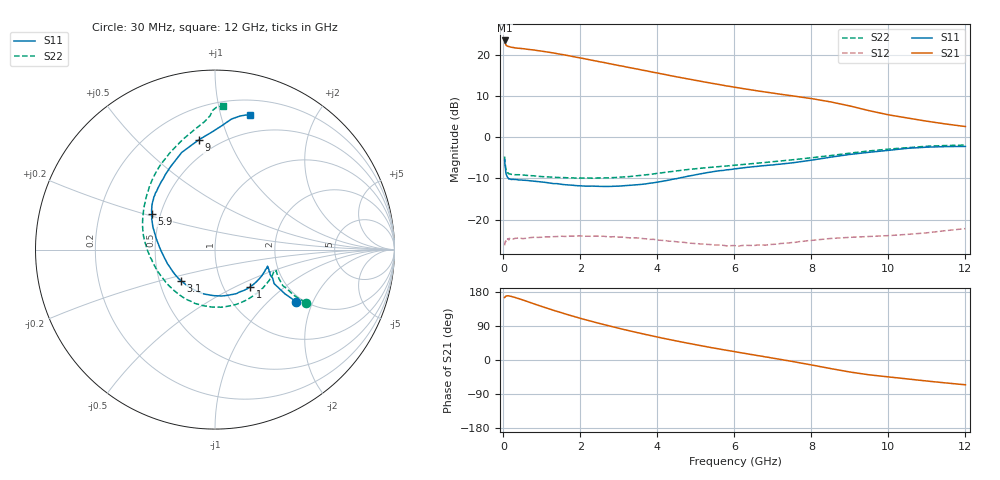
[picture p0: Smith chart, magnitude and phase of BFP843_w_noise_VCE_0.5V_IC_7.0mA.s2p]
! Infineon Technologies  Discrete & RF Semiconductors
! BFP843
! VCE =  0.5 V,  IC =  7.0 mA
! Common Emitter S-Parameters:  Aug 2013
# GHz  S  MA  R  50
!  f  S11  S21  S12  S22
! GHz  MAG  ANG  MAG  ANG  MAG  ANG  MAG  ANG
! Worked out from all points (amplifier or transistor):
!   103 points, 30 MHz to 12 GHz, reference 50 ohm
!   highest |S21| = 23.5 dB at 30 MHz (marker M1)
!   |S21| within 3 dB of that: start of sweep to 1.271 GHz
!   unconditionally stable (mu >= 1): 179.3 MHz to 645.3 MHz; 2.432 GHz to 11.94 GHz
!   at 400 MHz: K = 1.00, MAG = 22.7 dB, |S12| = -24.5 dB
!   at 3.7 GHz: K = 1.18, MAG = 17.8 dB, |S12| = -24.7 dB
!   at 12 GHz: K = 0.99, MSG = 12.4 dB, |S12| = -22.2 dB
!   lowest NFmin = 0.91 dB at 450 MHz
!   S11 on the Smith chart (normalised r, x): 30 MHz: 1.85, -1.51; 1 GHz: 1.33, -0.60; 3.1 GHz: 0.65, -0.24; 5.9 GHz: 0.45, +0.21; 9 GHz: 0.40, +0.78; 12 GHz: 0.33, +1.24
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0.03  0.5363 -32.7  14.96 164.9  0.0486 32.8  0.5843 -30.3
0.04  0.4601 -32.3  14.13 165.6  0.0522 26.2  0.5051 -30.1
0.05  0.4258 -31.4  13.63 167.8  0.0543 21.1  0.4558 -28.5
0.07  0.3581 -26.3  13.03 168.7  0.0557 12.7  0.4046 -25.8
0.13  0.3154 -19.5  12.66 169.5  0.0582 9.4  0.3607 -19.6
0.5  0.3009 -25.4  11.9 158.5  0.0586 2.5  0.3476 -29.5
1  0.2855 -46.5  11.09 141.1  0.061 -0.1  0.3324 -54.5
1.3  0.273 -59.7  10.54 131.1  0.062 -1.9  0.3271 -69.4
1.6  0.2649 -73.2  9.96 121.8  0.0623 -3.7  0.3229 -83.8
2.1  0.2549 -95.6  8.98 107.1  0.0628 -7.2  0.3186 -106.6
2.6  0.2524 -117.0  8.096 93.7  0.0627 -10.3  0.3205 -126.7
3.1  0.2568 -137.5  7.283 81.2  0.0612 -14.0  0.3288 -145.7
3.6  0.2679 -156.6  6.542 69.5  0.0589 -16.4  0.345 -162.3
4.1  0.2898 -173.5  5.886 58.4  0.0559 -17.6  0.3689 -176.4
4.9  0.3429 166.1  5 42.3  0.0514 -18.9  0.4097 167.5
5.9  0.4052 150.4  4.127 23.9  0.0482 -14.8  0.4519 151.9
6.1  0.4176 147.7  3.983 20.3  0.0475 -13.4  0.4608 149.0
7.3  0.4773 129.8  3.278 -0.3  0.0515 -8.4  0.5202 132.6
8.5  0.5723 108.9  2.684 -22.6  0.0589 -9.3  0.5984 114.3
9  0.6178 98.5  2.395 -31.7  0.0608 -10.9  0.6405 106.1
10.5  0.7333 82.8  1.709 -50.0  0.0661 -13.5  0.7463 92.1
12  0.7727 75.3  1.348 -65.4  0.0776 -18.0  0.8027 86.9
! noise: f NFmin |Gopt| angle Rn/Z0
0.45  0.91  0.12  7  0.01
0.9  0.92  0.13  16  0.03
1.5  0.95  0.12  26  0.09
1.9  0.97  0.1  39  0.18
2.4  1.01  0.09  49  0.25
3.5  1.08  0.06  61  0.28
5.5  1.24  0.14  -140  0.35
10  1.91  0.5  -70  0.42
